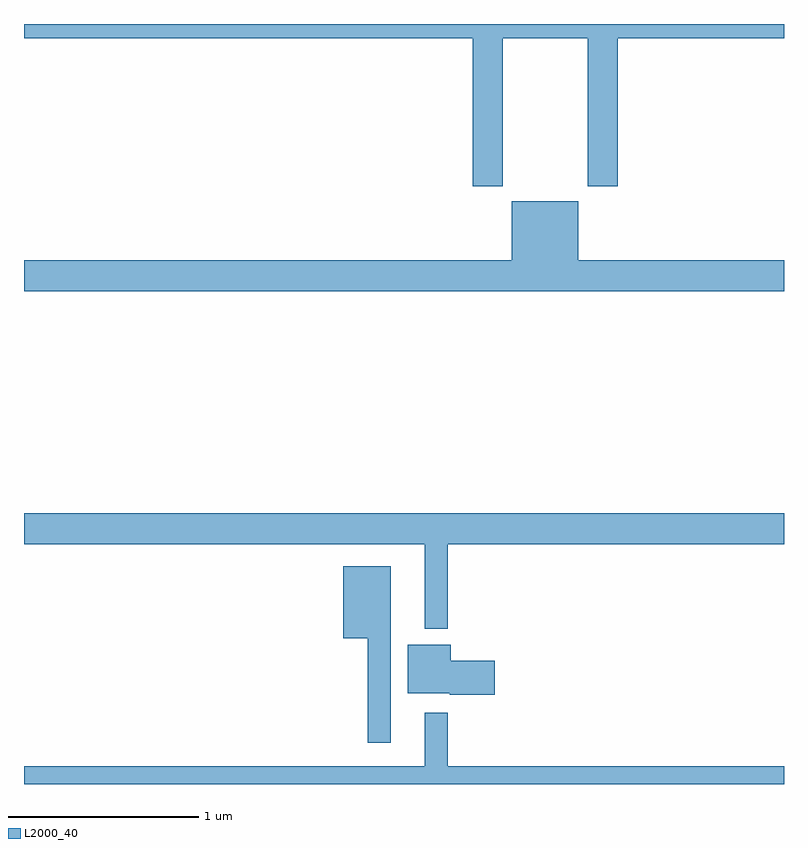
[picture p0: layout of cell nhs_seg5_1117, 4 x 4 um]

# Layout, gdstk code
import gdstk
lib = gdstk.Library(unit=1e-6, precision=1e-09)
def P(c, l, *ps):  # polygons
    for p in ps: c.add(gdstk.Polygon(p, *l))
L2000_40 = (2000, 40)

nhs_seg5_1117 = lib.new_cell('nhs_seg5_1117')
P(nhs_seg5_1117, L2000_40, [(181.521,892.724),(181.966,892.724),(181.966,891.945),(182.126,891.945),(182.126,892.724),(183,892.724),(183,892.799),(179,892.799),(179,892.724),(181.361,892.724),(181.361,891.945),(181.521,891.945)],
  [(183,891.556),(181.918,891.556),(181.918,891.865),(181.568,891.865),(181.568,891.556),(179,891.556),(179,891.392),(183,891.392)],
  [(181.231,890.06),(183,890.06),(183,890.224),(179,890.224),(179,890.06),(181.109,890.06),(181.109,889.616),(181.231,889.616)],
  [(180.931,889.945),(180.68,889.945),(180.68,889.565),(180.81,889.565),(180.81,889.017),(180.931,889.017)],
  [(181.477,889.448),(181.246,889.448),(181.246,889.531),(181.019,889.531),(181.019,889.277),(181.242,889.277),(181.242,889.27),(181.477,889.27)],
  [(181.231,889.174),(181.109,889.174),(181.109,888.892),(179,888.892),(179,888.799),(183,888.799),(183,888.892),(181.231,888.892)])

lib.write_gds('nhs_seg5_1117.gds')
